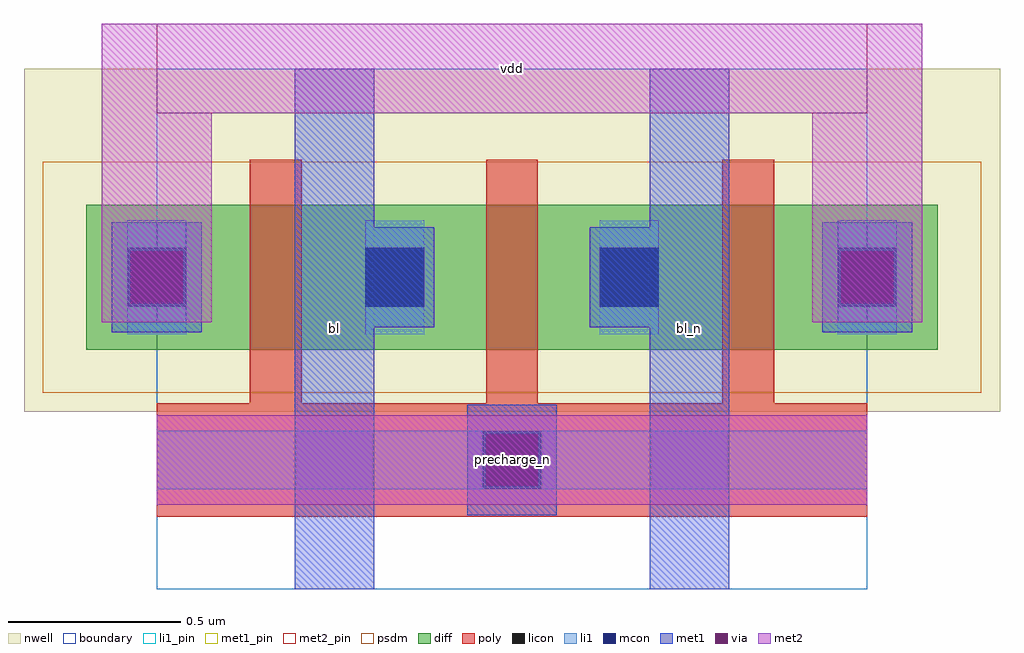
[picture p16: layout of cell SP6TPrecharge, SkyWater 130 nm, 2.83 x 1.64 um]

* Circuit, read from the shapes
.subckt SP6TPrecharge bl bl_n precharge_n vdd
XM1 bl precharge_n vdd n1 sky130_fd_pr__pfet_01v8 w=0.42 l=0.15
XM2 bl_n precharge_n bl n1 sky130_fd_pr__pfet_01v8 w=0.42 l=0.15
XM3 vdd precharge_n bl_n n1 sky130_fd_pr__pfet_01v8 w=0.42 l=0.15
.ends

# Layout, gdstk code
import gdstk
lib = gdstk.Library(unit=1e-6, precision=1e-09)
def R(c, l, rs):  # rectangles x0, y0, x1, y1
    for r in rs: c.add(gdstk.rectangle(r[:2], r[2:], *l))
def P(c, l, *ps):  # polygons
    for p in ps: c.add(gdstk.Polygon(p, *l))
nwell = (64, 20)
diff = (65, 20)
poly = (66, 20)
licon = (66, 44)
li1_pin = (67, 16)
li1 = (67, 20)
mcon = (67, 44)
met1_pin = (68, 16)
met1 = (68, 20)
via = (68, 44)
met2_pin = (69, 16)
met2 = (69, 20)
psdm = (94, 20)
boundary = (235, 4)

sp6tprecharge = lib.new_cell('SP6TPrecharge')
R(sp6tprecharge, nwell, [(-0.385,0.515,2.445,1.51)])
R(sp6tprecharge, diff, [(-0.205,0.695,2.265,1.115)])
P(sp6tprecharge, poly, [(0,0.21),(0,0.54),(0.27,0.54),(0.27,1.245),(0.42,1.245),(0.42,0.54),(0.955,0.54),(0.955,1.245),(1.105,1.245),(1.105,0.54),(1.64,0.54),(1.64,1.245),(1.79,1.245),(1.79,0.54),(2.06,0.54),(2.06,0.21)])
R(sp6tprecharge, licon, [(0.945,0.29,1.115,0.46), (-0.085,0.82,0.085,0.99), (0.605,0.82,0.775,0.99), (1.285,0.82,1.455,0.99), (1.975,0.82,2.145,0.99)])
R(sp6tprecharge, li1_pin, [(0,0.29,2.06,0.46)])
R(sp6tprecharge, li1, [(0,0.29,2.06,0.46), (-0.085,0.74,0.085,1.07), (0.605,0.74,0.775,1.07), (1.285,0.74,1.455,1.07), (1.975,0.74,2.145,1.07)])
R(sp6tprecharge, mcon, [(0.945,0.29,1.115,0.46), (-0.085,0.82,0.085,0.99), (0.605,0.82,0.775,0.99), (1.285,0.82,1.455,0.99), (1.975,0.82,2.145,0.99)])
R(sp6tprecharge, met1_pin, [(0.4,0,0.63,1.51), (1.43,0,1.66,1.51)])
R(sp6tprecharge, met1, [(0.9,0.215,1.16,0.535), (-0.13,0.745,0.13,1.065), (1.93,0.745,2.19,1.065)])
P(sp6tprecharge, met1, [(0.4,0),(0.4,1.51),(0.63,1.51),(0.63,1.05),(0.805,1.05),(0.805,0.76),(0.63,0.76),(0.63,0)],
  [(1.43,0),(1.43,0.76),(1.255,0.76),(1.255,1.05),(1.43,1.05),(1.43,1.51),(1.66,1.51),(1.66,0)])
R(sp6tprecharge, via, [(0.955,0.3,1.105,0.45), (-0.075,0.83,0.075,0.98), (1.985,0.83,2.135,0.98)])
R(sp6tprecharge, met2_pin, [(0,0.245,2.06,0.505), (0,1.38,2.06,1.64)])
R(sp6tprecharge, met2, [(0,0.245,2.06,0.505)])
P(sp6tprecharge, met2, [(-0.16,0.775),(-0.16,1.64),(2.22,1.64),(2.22,0.775),(1.9,0.775),(1.9,1.38),(0.16,1.38),(0.16,0.775)])
R(sp6tprecharge, psdm, [(-0.33,0.57,2.39,1.24)])
R(sp6tprecharge, boundary, [(0,0,2.06,1.51)])
sp6tprecharge.add(gdstk.Label('precharge_n', (1.03,0.375), layer=69, texttype=16))
sp6tprecharge.add(gdstk.Label('vdd', (1.03,1.51), layer=69, texttype=16))
sp6tprecharge.add(gdstk.Label('bl', (0.515,0.755), layer=68, texttype=16))
sp6tprecharge.add(gdstk.Label('bl_n', (1.545,0.755), layer=68, texttype=16))
sp6tprecharge.add(gdstk.Label('precharge_n', (1.03,0.375), layer=67, texttype=16))

lib.write_gds('SP6TPrecharge.gds')
